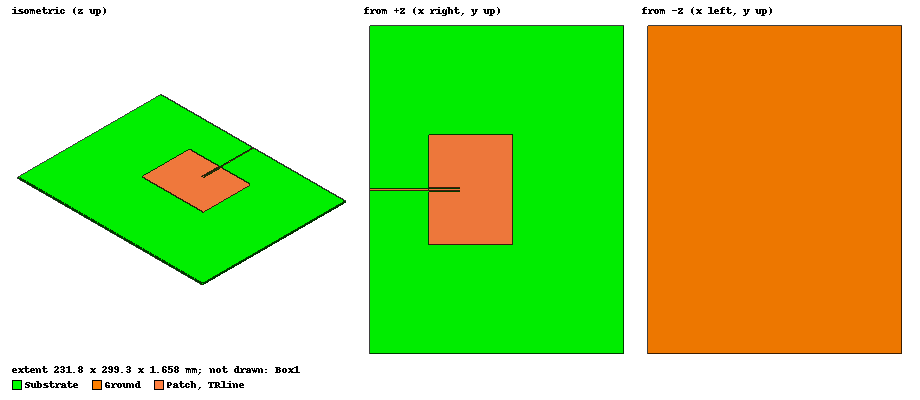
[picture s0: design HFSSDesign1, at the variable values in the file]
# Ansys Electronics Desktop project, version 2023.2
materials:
  vacuum: permittivity=1
  copper: permeability=0.999991 conductivity=58000000
  FR4_epoxy: permittivity=4.4 dielectric_loss_tangent=0.02
  air: permittivity=1.0006 permeability=1.0000004

design HFSSDesign1 (HFSS, HFSS Terminal Network, model units mm)
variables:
  Xpatch = 77.27mm
  Ypatch = 99.767315mm
  hSub = 1.588mm
  widthCT = 1.4mm
  Htrace = 0.035mm
  Ltrace = 53.6085mm
  D = 28.302mm
  S = 1mm
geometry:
  Ground [copper] = rectangle(corner=(0mm, 0mm, 0mm), x_size=3*Xpatch, y_size=3*Ypatch)
  Substrate [FR4_epoxy] = box(corner=(0mm, 0mm, 0mm), size=(3*Xpatch, 3*Ypatch, hSub))
  Ground.thicken(0.035mm)
  TRline [copper] = rectangle(corner=(0mm, 1.5*Ypatch-(widthCT/2), Hsub+Htrace), x_size=Ltrace, y_size=widthCT)
  Patch [copper] = rectangle(corner=(Ltrace, Ypatch, hSub+Htrace), x_size=Xpatch, y_size=Ypatch)
  [TRline, Patch].thicken(0.035mm)
  Rectangle1 = rectangle(corner=(Ltrace, 1.5*Ypatch-(widthCT/2), hSub+Htrace+Htrace), x_size=D, y_size=-S)
  Rectangle1.thicken(0.035mm)
  Rectangle2 = rectangle(corner=(Ltrace, 1.5*Ypatch+(widthCT/2), hSub+Htrace), x_size=D, y_size=S)
  Rectangle2.thicken(0.035mm)
  Patch.subtract(Rectangle1, Rectangle2)
  Rectangle3 = rectangle(corner=(0mm, Ypatch*1.5 -(widthCT/2), 0mm), y_size=widthCT, z_size=hSub+Htrace*2)
  Box1 [air] = box(corner=(300mm, 350mm, -10mm), size=(-360mm, -450mm, 30mm))
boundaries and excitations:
  Rad1: Radiation Objects=Box1
  1: Lumped Port Objects=Rectangle3 LumpedPortType=Modal Modes{Mode1{IntLine{(0, 149.65097, 0.035) -> (0, 149.65097, 1.658)} CharImp=Zpi}} Impedance=50ohm
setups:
  Setup1: HfssDriven Frequency=915MHz MaxDeltaS=0.012 MaximumPasses=20 MinimumPasses=1 MinimumConvergedPasses=1 PercentRefinement=30 BasisOrder=1 PortAccuracy=2 DrivenSolverType="Direct Solver"
    sweep Sweep: 457.5MHz to 1372.5MHz, 401 points; Type=Fast SaveFields
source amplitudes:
  1:1: 1V 0deg
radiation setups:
  Infinite Sphere5: Infinite Sphere Theta=0deg..360deg step 1deg Phi=-180deg..180deg step 1deg
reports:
  S Parameter Plot 2: dB(S(1,1)) vs Freq on Setup1 : Sweep
  Gain Plot 1: dB(GainTotal) vs Phi, Theta on Setup1 : LastAdaptive, Infinite Sphere5 [Freq=0.915GHz Ltrace=53.6085mm S=0.8mm]
  Gain Plot 2: dB(GainTotal) vs Freq, Phi on Setup1 : LastAdaptive, Infinite Sphere5 [Theta=0deg Ltrace=53.6085mm S=1mm]
  S Parameter Plot 3: dB(S(1,1)) vs Freq on Setup1 : Sweep [Xpatch=77.27mm Ltrace=54mm S=1mm]
  Z Parameter Plot 1: re(Z(1,1)) vs Freq on Setup1 : Sweep [Xpatch=77.27mm Ltrace=54mm S=1mm]
  Z Parameter Plot 2: im(Z(1,1)) vs Freq on Setup1 : Sweep [Xpatch=77.27mm Ltrace=54mm S=1mm]
  S Parameter Table 1: S(1,1) vs Freq on Setup1 : Sweep [Xpatch=77.27mm Ltrace=53.6085mm S=1mm]
  Gamma Plot 1: im(Gamma(1)) vs Freq on Setup1 : Sweep [Xpatch=all Ltrace=all S=all]
  S Parameter Plot 4: mag(S(1,1)) vs Freq on Setup1 : Sweep [Xpatch=77.27mm Ltrace=53.6085mm S=1mm]
  Gain Plot 3: dB(GainTotal) vs Phi, Theta on Setup1 : LastAdaptive, Infinite Sphere5 [Freq=0.915GHz Ltrace=53.6085mm S=0.8mm]
  Gain Plot 4: dB(GainTotal) vs Phi, Theta on Setup1 : LastAdaptive, Infinite Sphere5 [Freq=0.915GHz]
  Gain Plot 5: dB(GainTotal) vs Theta on Setup1 : LastAdaptive, Infinite Sphere5 [Phi=all Freq=0.915GHz]
  Gain Plot 6: dB(GainTotal) vs Theta on Setup1 : LastAdaptive, Infinite Sphere5 [Phi=all Freq=0.915GHz]
